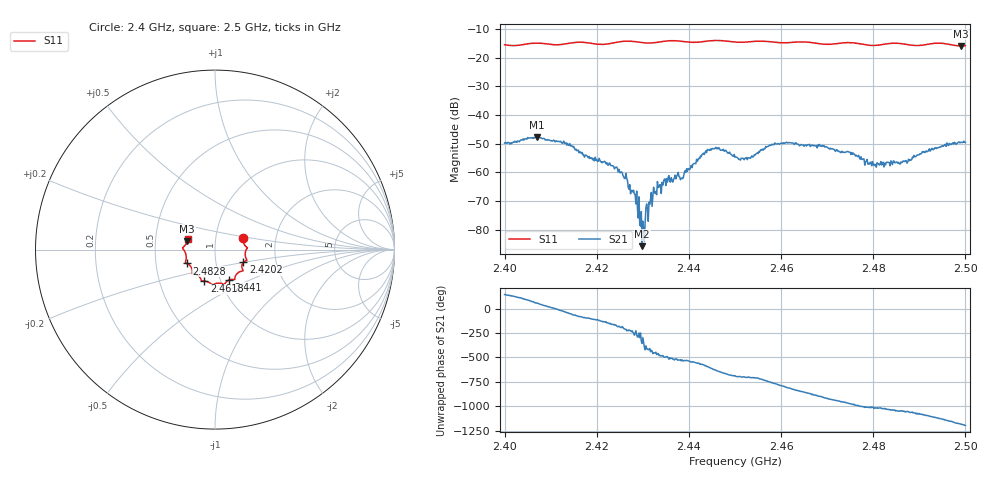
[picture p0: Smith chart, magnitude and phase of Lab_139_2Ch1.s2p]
# Hz S RI R 50
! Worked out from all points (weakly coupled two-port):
!   601 points, 2.4 GHz to 2.5 GHz, reference 50 ohm
!   highest |S21| = -47.66 dB at 2.407 GHz (marker M1); lowest = -85.8 dB at 2.4298 GHz (marker M2)
!   lowest |S11| = -15.8 dB at 2.499 GHz (marker M3), VSWR 1.39, Z = 36.4 + j3.49 ohm
!   |S11| at or under -10 dB: start of sweep to end of sweep
!   S12 and S22 are empty: the file has one direction only
!   S11 on the Smith chart (normalised r, x): 2.4 GHz: 1.36, +0.18; 2.4202 GHz: 1.36, -0.20; 2.441 GHz: 1.10, -0.39; 2.4618 GHz: 0.84, -0.30; 2.4828 GHz: 0.72, -0.11; 2.5 GHz: 0.73, +0.09
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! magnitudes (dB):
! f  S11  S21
! 2.4 GHz  -15.4  -49.8
! 2.407 GHz  -14.8  -47.7
! 2.4167 GHz  -14.5  -53.5
! 2.4202 GHz  -15.2  -56.2
! 2.426 GHz  -14.2  -62.2
! 2.4282 GHz  -14.3  -67.5
! 2.4298 GHz  -14.7  -85.8
! 2.4318 GHz  -14.8  -67.1
! 2.4333 GHz  -14.5  -65.3
! 2.4383 GHz  -14.2  -62.1
! 2.441 GHz  -14.6  -57.0
! 2.4455 GHz  -13.9  -51.8
! 2.45 GHz  -14.5  -54.7
! 2.453 GHz  -14.4  -54.9
! 2.4575 GHz  -14.3  -50.5
! 2.4618 GHz  -14.6  -49.6
! 2.4667 GHz  -14.6  -50.6
! 2.4802 GHz  -15.7  -57.6
! 2.4828 GHz  -15.1  -56.6
! 2.4833 GHz  -15.0  -56.5
! 2.499 GHz  -15.8  -49.5
! 2.5 GHz  -15.7  -49.6
